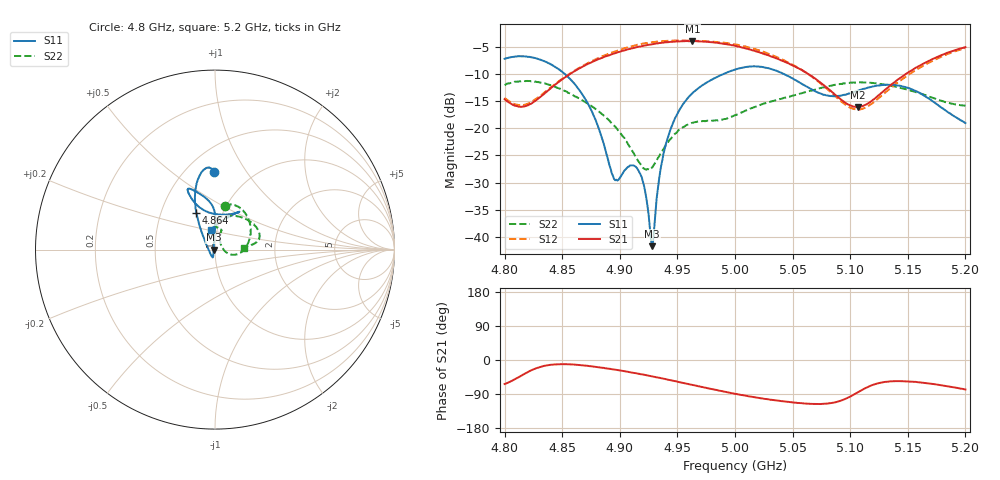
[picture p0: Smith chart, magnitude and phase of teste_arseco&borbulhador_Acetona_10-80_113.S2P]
! Network Analyzer HP8722D
! Hewlett-Packard
! Data name: Linha & Wilkinson
! Saver's name: Rodrigo Anjos
! Comments: Teste da utilização de aquisição
! continua pelo VNA HP8722D
! Time and date: 25/4/2025 16:12
!  Frequency  S11  S21  S12  S22
# HZ  S  MA R 50
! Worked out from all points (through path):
!   401 points, 4.8 GHz to 5.2 GHz, reference 50 ohm
!   highest |S21| = -3.98 dB at 4.963 GHz (marker M1); lowest = -16.1 dB at 5.107 GHz (marker M2)
!   lowest |S11| = -41.7 dB at 4.928 GHz (marker M3), VSWR 1.02, Z = 49.2 - j0.0413 ohm
!   |S11| at or under -10 dB: 4.852 GHz to 4.99 GHz (138.4 MHz wide, 2.81 % of centre); 5.042 GHz to end of sweep
!   |S22| runs from -27.7 to -11.3 dB; largest |S21 - S12| = 1.2
!   S11 on the Smith chart (normalised r, x): 4.8 GHz: 0.68, +0.73; 4.864 GHz: 0.75, +0.33; 5.2 GHz: 0.94, +0.21
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4.8e9  0.4345 90.6  0.1847 -63.3  0.1897 70.1  0.2485 76.9
4.82e9  0.4527 96.9  0.162 -32.0  0.1677 99.0  0.2719 61.2
4.843e9  0.3715 106.3  0.2468 -11.8  0.2507 118.9  0.2424 36.5
4.864e9  0.2312 116.8  0.3515 -13.1  0.3541 120.8  0.1892 11.7
4.867e9  0.2079 118.5  0.364 -13.9  0.369 120.5  0.1819 8.3
4.88e9  0.1115 129.0  0.4239 -18.6  0.4351 118.1  0.1473 -5.6
4.895e9  0.03416 -173.8  0.4857 -25.0  0.5041 113.5  0.1058 -16.1
4.91e9  0.04552 -107.7  0.541 -32.6  0.5661 107.0  0.06359 -13.6
4.917e9  0.03927 -104.8  0.5629 -36.6  0.59 103.3  0.04824 -1.1
4.922e9  0.02625 -110.5  0.5757 -39.5  0.6043 100.5  0.04191 16.3
4.928e9  0.00823 -177.1  0.5912 -43.1  0.616 96.9  0.04334 42.5
4.93e9  0.01262 127.1  0.5952 -44.4  0.6201 95.5  0.04678 48.9
4.934e9  0.0334 101.0  0.6058 -46.9  0.6286 93.1  0.05484 59.2
4.945e9  0.1041 90.4  0.6221 -54.0  0.6382 86.1  0.08165 69.7
4.963e9  0.2096 90.6  0.6326 -65.8  0.636 74.5  0.1122 71.3
5e9  0.3458 109.0  0.5717 -89.4  0.5906 50.7  0.1317 88.4
5.031e9  0.3507 115.0  0.4575 -105.0  0.4753 33.0  0.1755 84.3
5.067e9  0.226 105.2  0.2993 -115.9  0.2965 23.6  0.222 57.0
5.107e9  0.222 64.0  0.1565 -84.6  0.1484 58.5  0.2635 24.1
5.134e9  0.2502 57.3  0.243 -56.5  0.2285 88.7  0.2473 12.3
5.17e9  0.1823 70.7  0.4238 -62.5  0.4085 84.3  0.1931 6.8
5.2e9  0.1115 100.8  0.5563 -77.9  0.5457 70.0  0.1611 3.8
